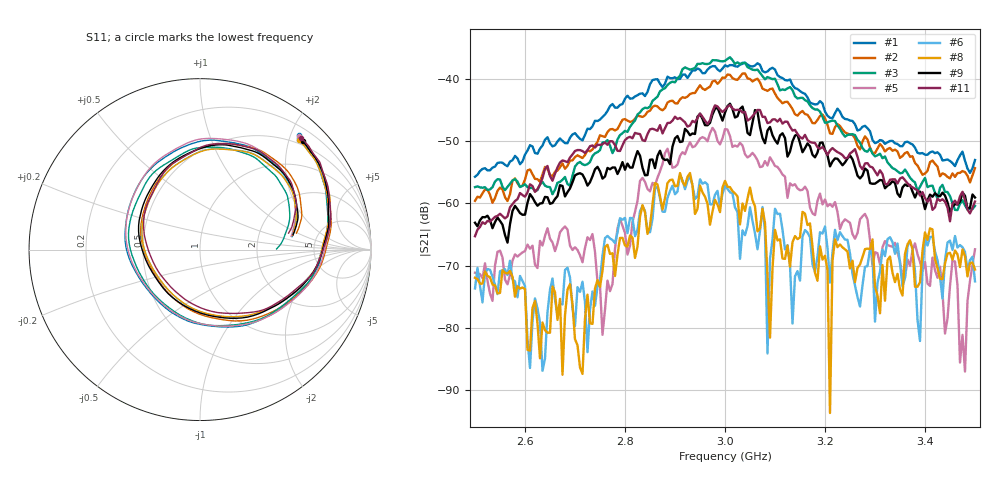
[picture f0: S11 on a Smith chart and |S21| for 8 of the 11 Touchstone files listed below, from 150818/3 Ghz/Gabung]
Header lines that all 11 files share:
# Hz S RI R 50
! CMT, C1220, 16058040, 17.2.0/1
! Data: Format (Calibration Info)
! Freq  S11: Re/Im (F2)  S21: Re/Im (F2)  S12: Re/Im (F2)  S22: Re/Im (F2)
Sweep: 2.5 GHz to 3.5 GHz
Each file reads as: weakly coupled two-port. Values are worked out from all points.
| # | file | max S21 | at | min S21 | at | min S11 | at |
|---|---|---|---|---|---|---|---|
| 1 | Sudut_330_Titik_1.s2p | -37.36 dB | 3.04 GHz | -55.7 dB | 2.5 GHz | -8.3 dB | 2.99 GHz |
| 2 | Sudut_330_Titik_8.s2p | -39.10 dB | 3.04 GHz | -59.9 dB | 2.535 GHz | -10.4 dB | 2.985 GHz |
| 3 | Sudut_340_Titik_2.s2p | -36.49 dB | 3.01 GHz | -61.1 dB | 3.465 GHz | -8.5 dB | 2.99 GHz |
| 4 | Sudut_340_Titik_3.s2p | -46.72 dB | 3.065 GHz | -67.8 dB | 2.5 GHz | -11.4 dB | 2.975 GHz |
| 5 | Sudut_340_Titik_4.s2p | -47.86 dB | 2.975 GHz | -87.0 dB | 3.48 GHz | -8.4 dB | 2.985 GHz |
| 6 | Sudut_340_Titik_5.s2p | -55.34 dB | 2.91 GHz | -86.9 dB | 2.635 GHz | -10.7 dB | 2.985 GHz |
| 7 | Sudut_340_Titik_8.s2p | -38.69 dB | 3.035 GHz | -59.1 dB | 2.565 GHz | -10.4 dB | 2.985 GHz |
| 8 | Sudut_350_Titik_5.s2p | -55.11 dB | 2.93 GHz | -93.7 dB | 3.21 GHz | -10.7 dB | 2.985 GHz |
| 9 | Sudut_350_Titik_7.s2p | -43.97 dB | 3.01 GHz | -66.3 dB | 2.565 GHz | -10.3 dB | 2.98 GHz |
| 10 | Sudut_350_Titik_8.s2p | -38.64 dB | 3.01 GHz | -58.6 dB | 2.565 GHz | -10.5 dB | 2.985 GHz |
| 11 | Sudut_360_Titik_3.s2p | -44.17 dB | 3.01 GHz | -65.3 dB | 2.5 GHz | -11.3 dB | 2.975 GHz |
